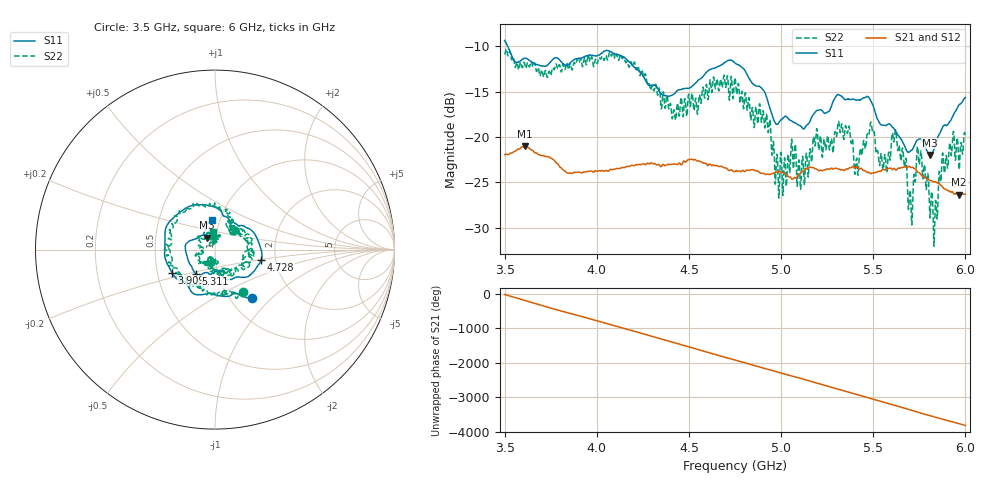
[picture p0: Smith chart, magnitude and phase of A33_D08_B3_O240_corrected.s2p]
! Created with skrf 1.9.0 (http://scikit-rf.org).
# Hz S RI R 50.0
!freq ReS11 ImS11 ReS21 ImS21 ReS12 ImS12 ReS22 ImS22
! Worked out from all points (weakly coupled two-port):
!   1601 points, 3.5 GHz to 6 GHz, reference 50 ohm
!   highest |S21| = -21.04 dB at 3.609 GHz (marker M1); lowest = -26.3 dB at 5.966 GHz (marker M2)
!   lowest |S11| = -22.0 dB at 5.808 GHz (marker M3), VSWR 1.17, Z = 45.3 + j5.99 ohm
!   |S11| at or under -10 dB: 3.517 GHz to end of sweep
!   |S22| runs from -32.0 to -10.3 dB; largest |S21 - S12| = 0.0011
!   S11 on the Smith chart (normalised r, x): 3.5 GHz: 1.25, -0.77; 3.909 GHz: 0.60, -0.17; 4.728 GHz: 1.68, -0.20; 5.311 GHz: 0.78, -0.22; 6 GHz: 0.92, +0.31
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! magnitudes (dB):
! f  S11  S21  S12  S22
! 3.5 GHz  -9.4  -21.9  -21.9  -10.9
! 3.609 GHz  -11.3  -21.0  -21.1  -11.9
! 3.909 GHz  -11.3  -23.9  -23.8  -11.5
! 3.917 GHz  -11.3  -24.0  -23.9  -11.7
! 4.334 GHz  -14.8  -23.0  -23.0  -15.1
! 4.728 GHz  -11.5  -23.6  -23.5  -13.5
! 4.75 GHz  -11.9  -23.8  -23.7  -13.5
! 4.93 GHz  -16.2  -24.1  -24.0  -19.5
! 4.98 GHz  -18.6  -23.9  -23.9  -22.2
! 5.167 GHz  -17.8  -23.4  -23.3  -22.6
! 5.311 GHz  -15.3  -23.5  -23.5  -18.3
! 5.408 GHz  -15.9  -23.3  -23.2  -22.5
! 5.492 GHz  -16.2  -24.0  -23.9  -18.9
! 5.584 GHz  -18.6  -23.5  -23.5  -21.7
! 5.63 GHz  -19.7  -23.5  -23.5  -20.8
! 5.702 GHz  -21.5  -23.3  -23.3  -26.1
! 5.75 GHz  -20.2  -23.9  -23.9  -23.0
! 5.808 GHz  -22.0  -24.8  -24.7  -28.9
! 5.838 GHz  -20.9  -24.9  -24.9  -27.0
! 5.869 GHz  -19.3  -25.3  -25.3  -24.5
! 5.966 GHz  -16.5  -26.3  -26.3  -23.6
! 6 GHz  -15.7  -26.3  -26.3  -20.0
